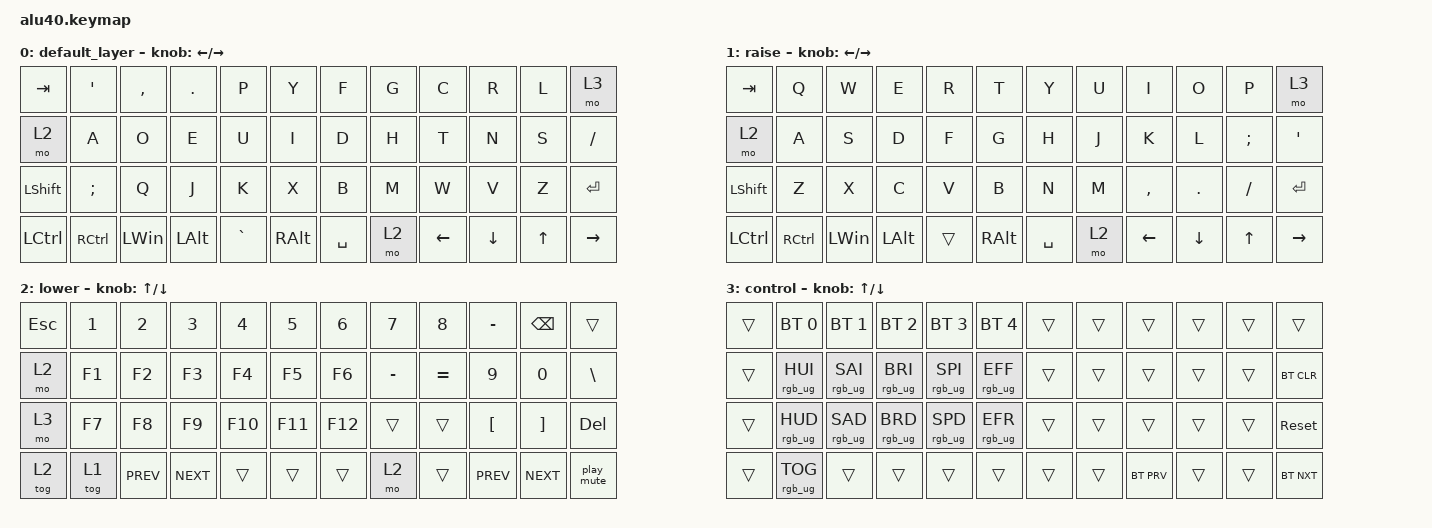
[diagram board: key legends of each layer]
/*
 * Copyright (c) 2022 The ZMK Contributors
 *
 * SPDX-License-Identifier: MIT
 */

#include <behaviors.dtsi>
#include <dt-bindings/zmk/bt.h>
#include <dt-bindings/zmk/keys.h>
#include <dt-bindings/zmk/rgb.h>

/ {
    behaviors {
        play_mute: play_mute {
            compatible = "zmk,behavior-tap-dance";
            label = "PLAY_MUTE";
            #binding-cells = <0>;
            bindings = <&kp C_PLAY_PAUSE>, <&kp C_MUTE>;
        };
    };

    keymap {
        compatible = "zmk,keymap";

        default_layer {
            // -----------------------------------------------------------------------------------------
            // | ESC/~ |  Q   |  W   |  E   |  R   |  T   |   Y   |  U    |  I   |  O   |   P   | BSPC  |
            // | TAB   |  A   |  S   |  D   |  F   |  G   |   H   |  J    |  K   |  L   |   ;   |  '    |
            // | SHIFT |  Z   |  X   |  C   |  V   |  B   |   N   |  M    |  ,   |  .   |   /   |RET/SFT|
            // | PLAY  | LCTL | LALT | LGUI | LOWR |     SPACE    |  RAIS | LARW | UARW | DARW  |  RARW |

            bindings = <
&kp TAB    &kp SQT            &kp COMMA     &kp PERIOD    &kp P      &kp Y          &kp F      &kp G  &kp C     &kp R     &kp L         &mo 3
&mo 2      &kp A              &kp O         &kp E         &kp U      &kp I          &kp D      &kp H  &kp T     &kp N     &kp S         &kp SLASH
&kp LSHFT  &kp SEMICOLON      &kp Q         &kp J         &kp K      &kp X          &kp B      &kp M  &kp W     &kp V     &kp Z         &kp ENTER
&kp LCTRL  &kp RIGHT_CONTROL  &kp LEFT_WIN  &kp LEFT_ALT  &kp GRAVE  &kp RIGHT_ALT  &kp SPACE  &mo 2  &kp LEFT  &kp DOWN  &kp UP_ARROW  &kp RIGHT
            >;

            sensor-bindings = <&inc_dec_kp LEFT RIGHT>;
        };

        raise {
            bindings = <
&kp TAB         &kp Q              &kp W         &kp E         &kp R   &kp T          &kp Y      &kp U  &kp I      &kp O       &kp P          &mo 3
&mo 2           &kp A              &kp S         &kp D         &kp F   &kp G          &kp H      &kp J  &kp K      &kp L       &kp SEMICOLON  &kp SQT
&kp LEFT_SHIFT  &kp Z              &kp X         &kp C         &kp V   &kp B          &kp N      &kp M  &kp COMMA  &kp PERIOD  &kp SLASH      &kp ENTER
&kp LCTRL       &kp RIGHT_CONTROL  &kp LEFT_WIN  &kp LEFT_ALT  &trans  &kp RIGHT_ALT  &kp SPACE  &mo 2  &kp LEFT   &kp DOWN    &kp UP_ARROW   &kp RIGHT
            >;

            sensor-bindings = <&inc_dec_kp LEFT RIGHT>;
        };

        lower {
            bindings = <
&kp ESCAPE  &kp NUMBER_1  &kp N2      &kp N3      &kp N4   &kp N5   &kp N6   &kp N7     &kp N8     &kp MINUS         &kp BACKSPACE      &trans
&mo 2       &kp F1        &kp F2      &kp F3      &kp F4   &kp F5   &kp F6   &kp MINUS  &kp EQUAL  &kp NUMBER_9      &kp NUMBER_0       &kp BACKSLASH
&mo 3       &kp F7        &kp F8      &kp F9      &kp F10  &kp F11  &kp F12  &trans     &trans     &kp LEFT_BRACKET  &kp RIGHT_BRACKET  &kp DEL
&tog 2      &tog 1        &kp C_PREV  &kp C_NEXT  &trans   &trans   &trans   &mo 2      &trans     &kp C_PREV        &kp C_NEXT         &play_mute
            >;

            sensor-bindings = <&inc_dec_kp UP DOWN>;
        };

        control {
            bindings = <
&trans  &bt BT_SEL 0     &bt BT_SEL 1     &bt BT_SEL 2     &bt BT_SEL 3     &bt BT_SEL 4     &trans  &trans  &trans      &trans  &trans  &trans
&trans  &rgb_ug RGB_HUI  &rgb_ug RGB_SAI  &rgb_ug RGB_BRI  &rgb_ug RGB_SPI  &rgb_ug RGB_EFF  &trans  &trans  &trans      &trans  &trans  &bt BT_CLR
&trans  &rgb_ug RGB_HUD  &rgb_ug RGB_SAD  &rgb_ug RGB_BRD  &rgb_ug RGB_SPD  &rgb_ug RGB_EFR  &trans  &trans  &trans      &trans  &trans  &sys_reset
&trans  &rgb_ug RGB_TOG  &trans           &trans           &trans           &trans           &trans  &trans  &bt BT_PRV  &trans  &trans  &bt BT_NXT
            >;

            sensor-bindings = <&inc_dec_kp UP DOWN>;
        };
    };
};
